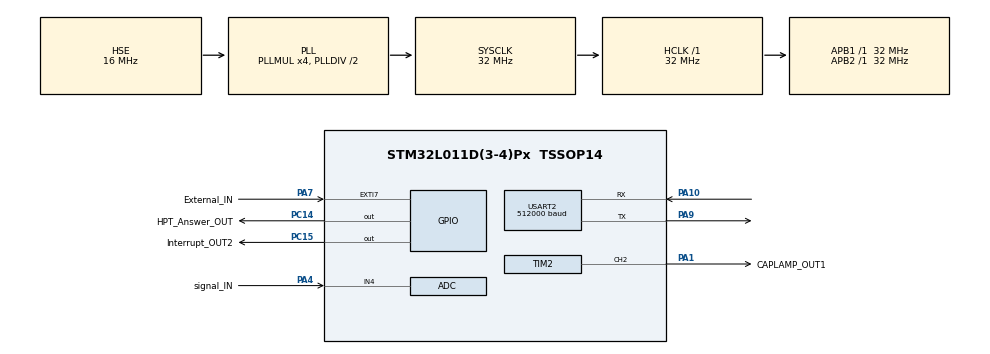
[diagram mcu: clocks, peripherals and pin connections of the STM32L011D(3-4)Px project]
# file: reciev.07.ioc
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ADC.ClockPrescaler=ADC_CLOCK_ASYNC_DIV1
ADC.ContinuousConvMode=ENABLE
ADC.DMAContinuousRequests=ENABLE
ADC.DataAlign=ADC_DATAALIGN_RIGHT
ADC.DiscontinuousConvMode=DISABLE
ADC.EOCSelection=ADC_EOC_SINGLE_CONV
ADC.EnableAnalogWatchDog=false
ADC.ExternalTrigConv=ADC_SOFTWARE_START
ADC.ExternalTrigConvEdge=ADC_EXTERNALTRIGCONVEDGE_NONE
ADC.LowPowerAutoPowerOff=DISABLE
ADC.LowPowerAutoWait=DISABLE
ADC.LowPowerFrequencyMode=DISABLE
ADC.Overrun=ADC_OVR_DATA_PRESERVED
ADC.OversamplingMode=ENABLE
ADC.Ratio=ADC_OVERSAMPLING_RATIO_16
ADC.Resolution=ADC_RESOLUTION_12B
ADC.RightBitShift=ADC_RIGHTBITSHIFT_NONE
ADC.SamplingTime=ADC_SAMPLETIME_7CYCLES_5
ADC.ScanConvMode=ADC_SCAN_DIRECTION_FORWARD
ADC.TriggeredMode=ADC_TRIGGEREDMODE_SINGLE_TRIGGER
Dma.ADC.2.Direction=DMA_PERIPH_TO_MEMORY
Dma.ADC.2.Instance=DMA1_Channel1
Dma.ADC.2.MemDataAlignment=DMA_MDATAALIGN_WORD
Dma.ADC.2.MemInc=DMA_MINC_ENABLE
Dma.ADC.2.Mode=DMA_CIRCULAR
Dma.ADC.2.PeriphDataAlignment=DMA_PDATAALIGN_WORD
Dma.ADC.2.PeriphInc=DMA_PINC_DISABLE
Dma.ADC.2.Priority=DMA_PRIORITY_LOW
Dma.Request0=USART2_TX
Dma.Request1=USART2_RX
Dma.Request2=ADC
Dma.Request3=TIM2_CH2
Dma.TIM2_CH2.3.Direction=DMA_MEMORY_TO_PERIPH
Dma.TIM2_CH2.3.Instance=DMA1_Channel3
Dma.TIM2_CH2.3.MemDataAlignment=DMA_MDATAALIGN_WORD
Dma.TIM2_CH2.3.MemInc=DMA_MINC_ENABLE
Dma.TIM2_CH2.3.Mode=DMA_NORMAL
Dma.TIM2_CH2.3.PeriphDataAlignment=DMA_PDATAALIGN_WORD
Dma.TIM2_CH2.3.PeriphInc=DMA_PINC_DISABLE
Dma.TIM2_CH2.3.Priority=DMA_PRIORITY_LOW
Dma.USART2_RX.1.Direction=DMA_PERIPH_TO_MEMORY
Dma.USART2_RX.1.Instance=DMA1_Channel5
Dma.USART2_RX.1.MemDataAlignment=DMA_MDATAALIGN_BYTE
Dma.USART2_RX.1.MemInc=DMA_MINC_ENABLE
Dma.USART2_RX.1.Mode=DMA_CIRCULAR
Dma.USART2_RX.1.PeriphDataAlignment=DMA_PDATAALIGN_BYTE
Dma.USART2_RX.1.PeriphInc=DMA_PINC_DISABLE
Dma.USART2_RX.1.Priority=DMA_PRIORITY_LOW
Dma.USART2_TX.0.Direction=DMA_MEMORY_TO_PERIPH
Dma.USART2_TX.0.Instance=DMA1_Channel2
Dma.USART2_TX.0.MemDataAlignment=DMA_MDATAALIGN_BYTE
Dma.USART2_TX.0.MemInc=DMA_MINC_ENABLE
Dma.USART2_TX.0.Mode=DMA_NORMAL
Dma.USART2_TX.0.PeriphDataAlignment=DMA_PDATAALIGN_BYTE
Dma.USART2_TX.0.PeriphInc=DMA_PINC_DISABLE
Dma.USART2_TX.0.Priority=DMA_PRIORITY_LOW
LPTIM1.ClockPrescaler=LPTIM_PRESCALER_DIV4
LPTIM1.UpdateMode=LPTIM_UPDATE_IMMEDIATE
Mcu.Family=STM32L0
Mcu.Name=STM32L011D(3-4)Px
Mcu.Package=TSSOP14
NVIC.ADC1_COMP_IRQn=true\:0\:0\:false\:false\:false
NVIC.DMA1_Channel1_IRQn=true\:0\:0\:false\:false\:true
NVIC.DMA1_Channel2_3_IRQn=true\:0\:0\:false\:false\:true
NVIC.DMA1_Channel4_5_6_7_IRQn=true\:0\:0\:false\:false\:true
NVIC.EXTI4_15_IRQn=true\:0\:0\:false\:false\:true
NVIC.LPTIM1_IRQn=true\:0\:0\:false\:false\:true
NVIC.TIM21_IRQn=true\:0\:0\:false\:false\:true
NVIC.TIM2_IRQn=true\:0\:0\:false\:false\:true
NVIC.USART2_IRQn=true\:0\:0\:false\:false\:true
PA0-CK_IN.Mode=HSE-External-Clock-Source-for-TinyNemo
PA0-CK_IN.Signal=RCC_CK_IN
PA1.GPIO_Label=CAPLAMP_OUT1
PA1.GPIO_PuPd=GPIO_PULLDOWN
PA1.Signal=S_TIM2_CH2
PA10.Mode=Asynchronous
PA10.Signal=USART2_RX
PA13.Mode=Serial_Wire
PA13.Signal=SYS_SWDIO
PA14.Mode=Serial_Wire
PA14.Signal=SYS_SWCLK
PA4.GPIO_Label=signal_IN
PA4.Mode=IN4
PA4.Signal=ADC_IN4
PA7.GPIO_Label=External_IN
PA7.GPIO_ModeDefaultEXTI=GPIO_MODE_IT_RISING_FALLING
PA7.Signal=GPXTI7
PA9.Mode=Asynchronous
PA9.Signal=USART2_TX
PC14-OSC32_IN.GPIO_Label=HPT_Answer_OUT
PC14-OSC32_IN.GPIO_PuPd=GPIO_PULLDOWN
PC14-OSC32_IN.Signal=GPIO_Output
PC15-OSC32_OUT.GPIO_Label=Interrupt_OUT2
PC15-OSC32_OUT.GPIO_PuPd=GPIO_PULLDOWN
PC15-OSC32_OUT.Signal=GPIO_Output
ProjectManager.HeapSize=0x200
ProjectManager.StackSize=0x400
ProjectManager.TargetToolchain=MDK-ARM V5
RCC.ADCFreq_Value=16000000
RCC.AHBFreq_Value=32000000
RCC.APB1Freq_Value=32000000
RCC.APB1TimFreq_Value=32000000
RCC.APB2Freq_Value=32000000
RCC.APB2TimFreq_Value=32000000
RCC.HCLKFreq_Value=32000000
RCC.HSE_VALUE=16000000
RCC.HSI16_VALUE=16000000
RCC.HSI_VALUE=16000000
RCC.LSE_VALUE=32768
RCC.MSI_VALUE=2097000
RCC.PLLMUL=RCC_PLLMUL_4
RCC.PLLSourceVirtual=RCC_PLLSOURCE_HSE
RCC.SYSCLKFreq_VALUE=32000000
RCC.SYSCLKSource=RCC_SYSCLKSOURCE_PLLCLK
RCC.VCOOutputFreq_Value=64000000
SH.S_TIM2_CH2.0=TIM2_CH2,PWM Generation2 CH2
TIM2.Channel-PWM\ Generation2\ CH2=TIM_CHANNEL_2
TIM2.ClockDivision=TIM_CLOCKDIVISION_DIV4
TIM2.Period=250-1
TIM2.Prescaler=16000-1
TIM21.Period=2500-1
TIM21.Prescaler=2-1
USART2.BaudRate=512000
USART2.VirtualMode-Asynchronous=VM_ASYNC
USART2.WordLength=WORDLENGTH_8B
VP_LPTIM1_VS_LPTIM_counterModeInternalClock.Mode=Counts__internal_clock_event_00
VP_TIM21_VS_ClockSourceINT.Mode=Internal
VP_TIM2_VS_ClockSourceINT.Mode=Internal
board=reciev.07

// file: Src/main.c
/**
  ******************************************************************************
  * File Name          : main.c
  * Description        : Main program body
  ******************************************************************************
  ** This notice applies to any and all portions of this file
  * that are not between comment pairs USER CODE BEGIN and
  * USER CODE END. Other portions of this file, whether
  * inserted by the user or by software development tools
  * are owned by their respective copyright owners.
  *
  * COPYRIGHT(c) 2018 STMicroelectronics
  *
  * Redistribution and use in source and binary forms, with or without modification,
  * are permitted provided that the following conditions are met:
  *   1. Redistributions of source code must retain the above copyright notice,
  *      this list of conditions and the following disclaimer.
  *   2. Redistributions in binary form must reproduce the above copyright notice,
  *      this list of conditions and the following disclaimer in the documentation
  *      and/or other materials provided with the distribution.
  *   3. Neither the name of STMicroelectronics nor the names of its contributors
  *      may be used to endorse or promote products derived from this software
  *      without specific prior written permission.
  *
  * THIS SOFTWARE IS PROVIDED BY THE COPYRIGHT HOLDERS AND CONTRIBUTORS "AS IS"
  * AND ANY EXPRESS OR IMPLIED WARRANTIES, INCLUDING, BUT NOT LIMITED TO, THE
  * IMPLIED WARRANTIES OF MERCHANTABILITY AND FITNESS FOR A PARTICULAR PURPOSE ARE
  * DISCLAIMED. IN NO EVENT SHALL THE COPYRIGHT HOLDER OR CONTRIBUTORS BE LIABLE
  * FOR ANY DIRECT, INDIRECT, INCIDENTAL, SPECIAL, EXEMPLARY, OR CONSEQUENTIAL
  * DAMAGES (INCLUDING, BUT NOT LIMITED TO, PROCUREMENT OF SUBSTITUTE GOODS OR
  * SERVICES; LOSS OF USE, DATA, OR PROFITS; OR BUSINESS INTERRUPTION) HOWEVER
  * CAUSED AND ON ANY THEORY OF LIABILITY, WHETHER IN CONTRACT, STRICT LIABILITY,
  * OR TORT (INCLUDING NEGLIGENCE OR OTHERWISE) ARISING IN ANY WAY OUT OF THE USE
  * OF THIS SOFTWARE, EVEN IF ADVISED OF THE POSSIBILITY OF SUCH DAMAGE.
  *
  ******************************************************************************
  */
#include "main.h"
#include "stm32l0xx_hal.h"
#include "adc.h"
#include "dma.h"
#include "tim.h"
#include "usart.h"
#include "gpio.h"

/* USER CODE BEGIN Includes */
#define ADR_START 0x08080000
#include "stm32l0xx_it.h"

#include	"match_dsp.h"
/* USER CODE END Includes */

/* USER CODE BEGIN PV */
/* Private variables ---------------------------------------------------------*/

extern UART2Recv_t UART2_RecvType;
extern SettingParametrs_t SETUP;
extern Cmd_Type CMD;

uint32_t  buff1;
extern uint8_t blink_cnt;

extern uint16_t hpt_rept_cnt;		// счетчик для ответа НРТ
extern uint8_t IRQ_abort;		// 0 - ждем уарт, 1 - ждем моргание
extern uint8_t en_cnt;				// запуск счета 1 - запущен, 0 - остановлен
extern uint8_t hpt_rept_type;

extern UART_HandleTypeDef huart2;
extern DMA_HandleTypeDef hdma_tim2_ch1;
/* USER CODE END PV */

void SystemClock_Config(void);

/* USER CODE BEGIN PFP */
/* Private function prototypes -----------------------------------------------*/

/* USER CODE END PFP */

int main(void)
{

  /* MCU Configuration----------------------------------------------------------*/

  /* Reset of all peripherals, Initializes the Flash interface and the Systick. */
  HAL_Init();

  /* Configure the system clock */
  SystemClock_Config();

  /* Initialize all configured peripherals */
  MX_GPIO_Init();
  MX_DMA_Init();
  MX_ADC_Init();
  MX_TIM2_Init();
  MX_TIM21_Init();
  MX_USART2_UART_Init();

  /* USER CODE BEGIN 2 */
	HAL_GPIO_WritePin(HPT_Answer_OUT_GPIO_Port,HPT_Answer_OUT_Pin, GPIO_PIN_RESET);			// RESET потому что стоит ключ там
	HAL_GPIO_WritePin(Interrupt_OUT2_GPIO_Port,Interrupt_OUT2_Pin, GPIO_PIN_RESET);

//#ifdef DFS
//	DefaultSettings();
//	SaveSetting(&SETUP);
//#endif

	if(*(__IO uint32_t*)(ADR_START) == 0x00000000)
		DefaultSettings();
	else
		LoadSetting(&SETUP);
//
	UART2_RecvType = UART2_RECV_CMD;
	HAL_UART_Receive_IT(&huart2, (uint8_t *)&CMD,sizeof(CMD));

////	HAL_ADCEx_Calibration_Start(&hadc,1);		// калибровка ацп
	HAL_ADC_Start_DMA(&hadc, (uint32_t*)&buff1,1);			// запуск ацп пдп

	blink(START);
//IRQ_abort = 0;				// убрать

//
	HAL_TIM_Base_Start_IT(&htim21);					//запуск таймера
  /* USER CODE END 2 */

  /* Infinite loop */
  while (1)
  {

  }

}

/** System Clock Configuration
*/
void SystemClock_Config(void)
{

  RCC_OscInitTypeDef RCC_OscInitStruct;
  RCC_ClkInitTypeDef RCC_ClkInitStruct;
  RCC_PeriphCLKInitTypeDef PeriphClkInit;

    /**Configure the main internal regulator output voltage
    */
  __HAL_PWR_VOLTAGESCALING_CONFIG(PWR_REGULATOR_VOLTAGE_SCALE1);

    /**Initializes the CPU, AHB and APB busses clocks
    */
  RCC_OscInitStruct.OscillatorType = RCC_OSCILLATORTYPE_HSI|RCC_OSCILLATORTYPE_HSE;
  RCC_OscInitStruct.HSEState = RCC_HSE_BYPASS;
  RCC_OscInitStruct.HSIState = RCC_HSI_ON;
  RCC_OscInitStruct.HSICalibrationValue = 16;
  RCC_OscInitStruct.PLL.PLLState = RCC_PLL_ON;
  RCC_OscInitStruct.PLL.PLLSource = RCC_PLLSOURCE_HSE;
  RCC_OscInitStruct.PLL.PLLMUL = RCC_PLLMUL_4;
  RCC_OscInitStruct.PLL.PLLDIV = RCC_PLLDIV_2;
  if (HAL_RCC_OscConfig(&RCC_OscInitStruct) != HAL_OK)
  {
    _Error_Handler(__FILE__, __LINE__);
  }

    /**Initializes the CPU, AHB and APB busses clocks
    */
  RCC_ClkInitStruct.ClockType = RCC_CLOCKTYPE_HCLK|RCC_CLOCKTYPE_SYSCLK
                              |RCC_CLOCKTYPE_PCLK1|RCC_CLOCKTYPE_PCLK2;
  RCC_ClkInitStruct.SYSCLKSource = RCC_SYSCLKSOURCE_PLLCLK;
  RCC_ClkInitStruct.AHBCLKDivider = RCC_SYSCLK_DIV1;
  RCC_ClkInitStruct.APB1CLKDivider = RCC_HCLK_DIV1;
  RCC_ClkInitStruct.APB2CLKDivider = RCC_HCLK_DIV1;

  if (HAL_RCC_ClockConfig(&RCC_ClkInitStruct, FLASH_LATENCY_1) != HAL_OK)
  {
    _Error_Handler(__FILE__, __LINE__);
  }

  PeriphClkInit.PeriphClockSelection = RCC_PERIPHCLK_USART2|RCC_PERIPHCLK_LPTIM1;
  PeriphClkInit.Usart2ClockSelection = RCC_USART2CLKSOURCE_PCLK1;
  PeriphClkInit.LptimClockSelection = RCC_LPTIM1CLKSOURCE_PCLK;

  if (HAL_RCCEx_PeriphCLKConfig(&PeriphClkInit) != HAL_OK)
  {
    _Error_Handler(__FILE__, __LINE__);
  }

    /**Configure the Systick interrupt time
    */
  HAL_SYSTICK_Config(HAL_RCC_GetHCLKFreq()/1000);

    /**Configure the Systick
    */
  HAL_SYSTICK_CLKSourceConfig(SYSTICK_CLKSOURCE_HCLK);

  /* SysTick_IRQn interrupt configuration */
  HAL_NVIC_SetPriority(SysTick_IRQn, 0, 0);
}

void _Error_Handler(char * file, int line)
{
  while(1)
  {
  }
}

/************************ (C) COPYRIGHT STMicroelectronics *****END OF FILE****/
